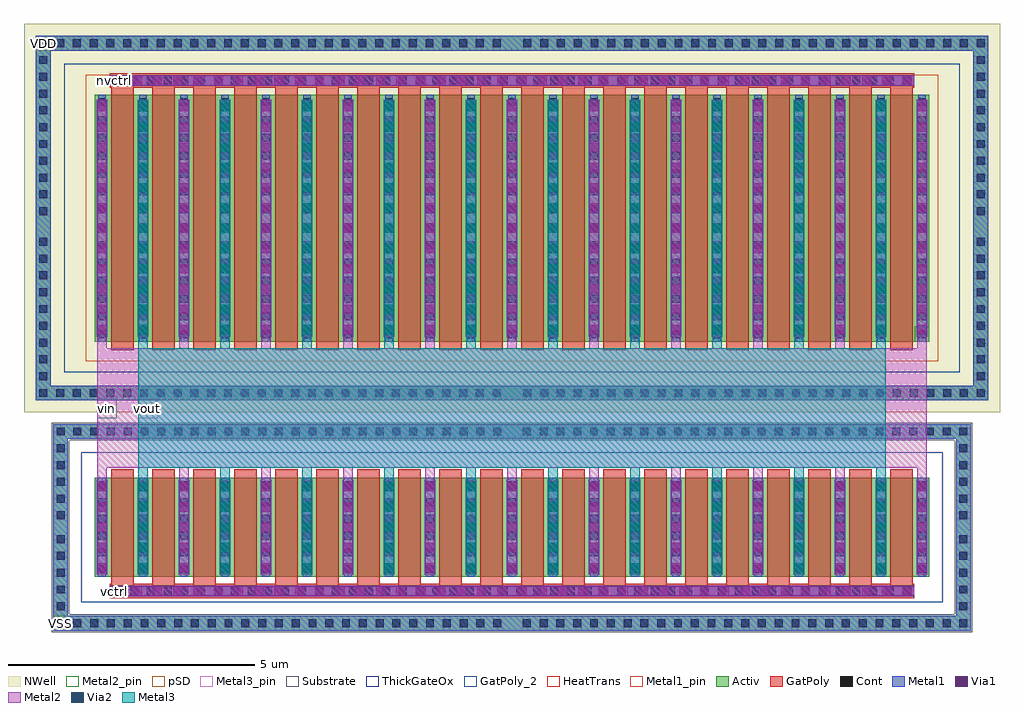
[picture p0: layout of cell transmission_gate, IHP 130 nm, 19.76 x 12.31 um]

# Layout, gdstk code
from math import pi, radians
import gdstk
lib = gdstk.Library(unit=1e-6, precision=1e-09)
def R(c, l, rs):  # rectangles x0, y0, x1, y1
    for r in rs: c.add(gdstk.rectangle(r[:2], r[2:], *l))
def A(c, l, x, y, w, h, nx, ny, dx, dy):  # array of equal rectangles
    R(c, l, [(x+i*dx, y+j*dy, x+i*dx+w, y+j*dy+h) for i in range(nx) for j in range(ny)])
def P(c, l, *ps):  # polygons
    for p in ps: c.add(gdstk.Polygon(p, *l))
Activ = (1, 0)
GatPoly = (5, 0)
GatPoly_2 = (5, 2)
Cont = (6, 0)
Metal1 = (8, 0)
Metal1_pin = (8, 2)
Metal2 = (10, 0)
Metal2_pin = (10, 2)
pSD = (14, 0)
Via1 = (19, 0)
Via2 = (29, 0)
Metal3 = (30, 0)
Metal3_pin = (30, 2)
NWell = (31, 0)
Substrate = (40, 0)
ThickGateOx = (44, 0)
HeatTrans = (51, 0)

nmoshv = lib.new_cell('nmosHV')
A(nmoshv, Activ, 0, 0, 0.3, 0.3, 21, 1, 0.83, 0)
R(nmoshv, Activ, [(-0.84,-0.79,-0.54,2.79), (17.44,-0.79,17.74,2.79), (0,0,16.9,2), (-0.84,2.79,17.74,3.09)])
P(nmoshv, Activ, [(-0.84,-1.09),(-0.84,2.79),(-0.54,2.79),(-0.54,-0.79),(17.44,-0.79),(17.44,2.79),(-0.84,2.79),(-0.84,3.09),(17.74,3.09),(17.74,-1.09)])
A(nmoshv, GatPoly, 0.34, -0.18, 0.45, 2.36, 20, 1, 0.83, 0)
R(nmoshv, GatPoly_2, [(0.34,-0.18,0.79,2.18)])
A(nmoshv, Cont, -0.77, -1.02, 0.16, 0.16, 27, 2, 0.34, 3.88)
A(nmoshv, Cont, 8.67, -1.02, 0.16, 0.16, 27, 2, 0.34, 3.88)
A(nmoshv, Cont, -0.77, -0.68, 0.16, 0.16, 1, 5, 0, 0.34)
A(nmoshv, Cont, 17.51, -0.68, 0.16, 0.16, 1, 5, 0, 0.34)
A(nmoshv, Cont, 0.07, 0.07, 0.16, 0.16, 21, 6, 0.83, 0.34)
A(nmoshv, Cont, -0.77, 1.16, 0.16, 0.16, 1, 5, 0, 0.34)
A(nmoshv, Cont, 17.51, 1.16, 0.16, 0.16, 1, 5, 0, 0.34)
A(nmoshv, Metal1, 0.07, 0, 0.16, 2, 21, 1, 0.83, 0)
R(nmoshv, Metal1, [(-0.84,-1.09,17.74,-0.79), (-0.84,-0.79,-0.54,2.79), (17.44,-0.79,17.74,2.79), (-0.84,2.79,17.74,3.09)])
R(nmoshv, Metal1_pin, [(0.07,0,0.23,2), (0.9,0,1.06,2)])
R(nmoshv, pSD, [(-0.87,-0.76,-0.51,2.76), (17.41,-0.76,17.77,2.76), (-0.87,2.76,17.77,3.12)])
P(nmoshv, pSD, [(-0.87,-1.12),(-0.87,2.76),(-0.51,2.76),(-0.51,-0.76),(17.41,-0.76),(17.41,2.76),(-0.87,2.76),(-0.87,3.12),(17.77,3.12),(17.77,-1.12)])
R(nmoshv, Substrate, [(-0.87,-0.76,-0.51,2.76), (17.41,-0.76,17.77,2.76), (-0.87,2.76,17.77,3.12)])
P(nmoshv, Substrate, [(-0.87,-1.12),(-0.87,2.76),(-0.51,2.76),(-0.51,-0.76),(17.41,-0.76),(17.41,2.76),(-0.87,2.76),(-0.87,3.12),(17.77,3.12),(17.77,-1.12)])
R(nmoshv, ThickGateOx, [(-0.27,-0.52,17.17,2.52)])
A(nmoshv, HeatTrans, 0.34, -0.18, 0.45, 2.36, 20, 1, 0.83, 0)
nmoshv.add(gdstk.Label('nmosHV', (0.565,1), layer=63, texttype=0))
nmoshv.add(gdstk.Label('sub!', (8.45,-0.94), layer=63, texttype=0))
nmoshv.add(gdstk.Label('nmosHV', (0.565,1), layer=51, texttype=0))
nmoshv.add(gdstk.Label('nmosHV', (1.395,1), layer=51, texttype=0))
nmoshv.add(gdstk.Label('nmosHV', (2.225,1), layer=51, texttype=0))
nmoshv.add(gdstk.Label('nmosHV', (3.055,1), layer=51, texttype=0))
nmoshv.add(gdstk.Label('nmosHV', (3.885,1), layer=51, texttype=0))
nmoshv.add(gdstk.Label('nmosHV', (4.715,1), layer=51, texttype=0))
nmoshv.add(gdstk.Label('nmosHV', (5.545,1), layer=51, texttype=0))
nmoshv.add(gdstk.Label('nmosHV', (6.375,1), layer=51, texttype=0))
nmoshv.add(gdstk.Label('nmosHV', (7.205,1), layer=51, texttype=0))
nmoshv.add(gdstk.Label('nmosHV', (8.035,1), layer=51, texttype=0))
nmoshv.add(gdstk.Label('nmosHV', (8.865,1), layer=51, texttype=0))
nmoshv.add(gdstk.Label('nmosHV', (9.695,1), layer=51, texttype=0))
nmoshv.add(gdstk.Label('nmosHV', (10.525,1), layer=51, texttype=0))
nmoshv.add(gdstk.Label('nmosHV', (11.355,1), layer=51, texttype=0))
nmoshv.add(gdstk.Label('nmosHV', (12.185,1), layer=51, texttype=0))
nmoshv.add(gdstk.Label('nmosHV', (13.015,1), layer=51, texttype=0))
nmoshv.add(gdstk.Label('nmosHV', (13.845,1), layer=51, texttype=0))
nmoshv.add(gdstk.Label('nmosHV', (14.675,1), layer=51, texttype=0))
nmoshv.add(gdstk.Label('nmosHV', (15.505,1), layer=51, texttype=0))
nmoshv.add(gdstk.Label('nmosHV', (16.335,1), layer=51, texttype=0))

pmoshv = lib.new_cell('pmosHV')
A(pmoshv, Activ, 0, 0, 0.3, 0.3, 21, 1, 0.83, 0)
R(pmoshv, Activ, [(-1.19,-0.89,-0.89,5.89), (17.79,-0.89,18.09,5.89), (0,0,16.9,5), (-1.19,5.89,18.09,6.19)])
P(pmoshv, Activ, [(-1.19,-1.19),(-1.19,5.89),(-0.89,5.89),(-0.89,-0.89),(17.79,-0.89),(17.79,5.89),(-1.19,5.89),(-1.19,6.19),(18.09,6.19),(18.09,-1.19)])
A(pmoshv, GatPoly, 0.34, -0.18, 0.45, 5.36, 20, 1, 0.83, 0)
R(pmoshv, GatPoly_2, [(0.34,-0.18,0.79,5.18)])
A(pmoshv, Cont, -1.12, -1.12, 0.16, 0.16, 28, 2, 0.34, 7.08)
A(pmoshv, Cont, 8.68, -1.12, 0.16, 0.16, 28, 2, 0.34, 7.08)
A(pmoshv, Cont, -1.12, -0.78, 0.16, 0.16, 1, 9, 0, 0.34)
A(pmoshv, Cont, 17.86, -0.78, 0.16, 0.16, 1, 9, 0, 0.34)
A(pmoshv, Cont, 0.07, 0.07, 0.16, 0.16, 21, 4, 0.83, 0.36)
A(pmoshv, Cont, 0.07, 1.515, 0.16, 0.16, 21, 3, 0.83, 0.36)
A(pmoshv, Cont, -1.12, 2.56, 0.16, 0.16, 1, 10, 0, 0.34)
A(pmoshv, Cont, 17.86, 2.56, 0.16, 0.16, 1, 10, 0, 0.34)
A(pmoshv, Cont, 0.07, 2.6, 0.16, 0.16, 21, 3, 0.83, 0.36)
A(pmoshv, Cont, 0.07, 3.685, 0.16, 0.16, 21, 3, 0.83, 0.36)
A(pmoshv, Cont, 0.07, 4.77, 0.16, 0.16, 21, 1, 0.83, 0)
A(pmoshv, Metal1, 0.07, 0, 0.16, 5, 21, 1, 0.83, 0)
R(pmoshv, Metal1, [(-1.19,-1.19,18.09,-0.89), (-1.19,-0.89,-0.89,5.89), (17.79,-0.89,18.09,5.89), (-1.19,5.89,18.09,6.19)])
R(pmoshv, Metal1_pin, [(0.07,0,0.23,5), (0.9,0,1.06,5)])
R(pmoshv, pSD, [(-0.18,-0.4,17.08,5.4)])
R(pmoshv, NWell, [(-1.43,-1.43,18.33,6.43), (-0.62,-0.62,17.52,5.62)])
R(pmoshv, Substrate, [(16.6,0,16.9,0.3)])
R(pmoshv, ThickGateOx, [(-0.62,-0.62,17.52,5.62)])
A(pmoshv, HeatTrans, 0.34, -0.18, 0.45, 5.36, 20, 1, 0.83, 0)
pmoshv.add(gdstk.Label('pmosHV', (0.565,2.5), layer=63, texttype=0))
pmoshv.add(gdstk.Label('well', (8.45,-1.04), layer=63, texttype=0))
pmoshv.add(gdstk.Label('pmos', (0.565,2.5), layer=51, texttype=0))
pmoshv.add(gdstk.Label('pmos', (1.395,2.5), layer=51, texttype=0))
pmoshv.add(gdstk.Label('pmos', (2.225,2.5), layer=51, texttype=0))
pmoshv.add(gdstk.Label('pmos', (3.055,2.5), layer=51, texttype=0))
pmoshv.add(gdstk.Label('pmos', (3.885,2.5), layer=51, texttype=0))
pmoshv.add(gdstk.Label('pmos', (4.715,2.5), layer=51, texttype=0))
pmoshv.add(gdstk.Label('pmos', (5.545,2.5), layer=51, texttype=0))
pmoshv.add(gdstk.Label('pmos', (6.375,2.5), layer=51, texttype=0))
pmoshv.add(gdstk.Label('pmos', (7.205,2.5), layer=51, texttype=0))
pmoshv.add(gdstk.Label('pmos', (8.035,2.5), layer=51, texttype=0))
pmoshv.add(gdstk.Label('pmos', (8.865,2.5), layer=51, texttype=0))
pmoshv.add(gdstk.Label('pmos', (9.695,2.5), layer=51, texttype=0))
pmoshv.add(gdstk.Label('pmos', (10.525,2.5), layer=51, texttype=0))
pmoshv.add(gdstk.Label('pmos', (11.355,2.5), layer=51, texttype=0))
pmoshv.add(gdstk.Label('pmos', (12.185,2.5), layer=51, texttype=0))
pmoshv.add(gdstk.Label('pmos', (13.015,2.5), layer=51, texttype=0))
pmoshv.add(gdstk.Label('pmos', (13.845,2.5), layer=51, texttype=0))
pmoshv.add(gdstk.Label('pmos', (14.675,2.5), layer=51, texttype=0))
pmoshv.add(gdstk.Label('pmos', (15.505,2.5), layer=51, texttype=0))
pmoshv.add(gdstk.Label('pmos', (16.335,2.5), layer=51, texttype=0))

via_stack_3 = lib.new_cell('via_stack$3')
R(via_stack_3, Metal1, [(-0.965,-0.105,0.965,0.105)])
R(via_stack_3, Metal2, [(-0.965,-0.1,0.965,0.1)])
A(via_stack_3, Via1, -0.915, -0.095, 0.19, 0.19, 5, 1, 0.41, 0)
A(via_stack_3, Via2, -0.915, -0.095, 0.19, 0.19, 5, 1, 0.41, 0)
R(via_stack_3, Metal3, [(-0.965,-0.1,0.965,0.1)])

via_stack_2 = lib.new_cell('via_stack$2')
R(via_stack_2, Metal1, [(-0.965,-0.105,0.965,0.105)])
R(via_stack_2, Metal2, [(-0.965,-0.1,0.965,0.1)])
A(via_stack_2, Via1, -0.915, -0.095, 0.19, 0.19, 5, 1, 0.41, 0)

via_stack_1 = lib.new_cell('via_stack$1')
R(via_stack_1, Metal1, [(-2.4,-0.105,2.4,0.105)])
R(via_stack_1, Metal2, [(-2.4,-0.1,2.4,0.1)])
A(via_stack_1, Via1, -2.35, -0.095, 0.19, 0.19, 12, 1, 0.41, 0)
A(via_stack_1, Via2, -2.35, -0.095, 0.19, 0.19, 12, 1, 0.41, 0)
R(via_stack_1, Metal3, [(-2.4,-0.1,2.4,0.1)])

via_stack = lib.new_cell('via_stack')
R(via_stack, Metal1, [(-2.4,-0.105,2.4,0.105)])
R(via_stack, Metal2, [(-2.4,-0.1,2.4,0.1)])
A(via_stack, Via1, -2.35, -0.095, 0.19, 0.19, 12, 1, 0.41, 0)

via_stack_8 = lib.new_cell('via_stack$8')
R(via_stack_8, GatPoly, [(-0.15,-8.14,0.15,8.14)])
A(via_stack_8, Cont, -0.08, -8.07, 0.16, 0.16, 1, 48, 0, 0.34)
R(via_stack_8, Metal1, [(-0.08,-8.12,0.08,8.12)])

via_stack_7 = lib.new_cell('via_stack$7')
R(via_stack_7, Metal1, [(-0.105,-8.14,0.105,8.14)])
R(via_stack_7, Metal2, [(-0.1,-8.14,0.1,8.14)])
A(via_stack_7, Via1, -0.095, -8.09, 0.19, 0.19, 1, 40, 0, 0.41)

transmission_gate = lib.new_cell('transmission_gate')
R(transmission_gate, Metal1_pin, [(0.59,0.03,0.89,0.33), (0.24,11.77,0.54,12.07)])
A(transmission_gate, Metal2, 1.48, 3.085, 0.2, 2.895, 11, 1, 1.66, 0)
R(transmission_gate, Metal2, [(1.48,3.33,18.28,5.74)])
R(transmission_gate, Metal2_pin, [(1.74,0.73,1.94,0.93), (1.48,4.33,1.88,4.73), (1.74,11.065,1.94,11.265)])
A(transmission_gate, Metal3, 2.31, 3.085, 0.2, 2.895, 10, 1, 1.66, 0)
R(transmission_gate, Metal3, [(2.31,3.33,17.45,5.74)])
R(transmission_gate, Metal3_pin, [(2.31,4.33,2.71,4.73)])
transmission_gate.add(gdstk.Reference(nmoshv, (1.43,1.12)))
transmission_gate.add(gdstk.Reference(pmoshv, (1.43,5.88)))
transmission_gate.add(gdstk.Reference(via_stack_3, (2.41,2.12), rotation=pi/2))
transmission_gate.add(gdstk.Reference(via_stack_2, (1.58,2.12), rotation=pi/2))
transmission_gate.add(gdstk.Reference(via_stack_1, (2.41,8.38), rotation=pi/2))
transmission_gate.add(gdstk.Reference(via_stack, (1.58,8.38), rotation=pi/2))
transmission_gate.add(gdstk.Reference(via_stack_3, (4.07,2.12), rotation=pi/2))
transmission_gate.add(gdstk.Reference(via_stack_3, (5.73,2.12), rotation=pi/2))
transmission_gate.add(gdstk.Reference(via_stack_3, (7.39,2.12), rotation=pi/2))
transmission_gate.add(gdstk.Reference(via_stack_3, (9.05,2.12), rotation=pi/2))
transmission_gate.add(gdstk.Reference(via_stack_3, (10.71,2.12), rotation=pi/2))
transmission_gate.add(gdstk.Reference(via_stack_3, (12.37,2.12), rotation=pi/2))
transmission_gate.add(gdstk.Reference(via_stack_3, (14.03,2.12), rotation=pi/2))
transmission_gate.add(gdstk.Reference(via_stack_3, (15.69,2.12), rotation=pi/2))
transmission_gate.add(gdstk.Reference(via_stack_3, (17.35,2.12), rotation=pi/2))
transmission_gate.add(gdstk.Reference(via_stack_8, (9.88,0.83), rotation=pi/2))
transmission_gate.add(gdstk.Reference(via_stack_2, (3.24,2.12), rotation=pi/2))
transmission_gate.add(gdstk.Reference(via_stack_2, (4.9,2.12), rotation=pi/2))
transmission_gate.add(gdstk.Reference(via_stack_2, (6.56,2.12), rotation=pi/2))
transmission_gate.add(gdstk.Reference(via_stack_2, (8.22,2.12), rotation=pi/2))
transmission_gate.add(gdstk.Reference(via_stack_2, (9.88,2.12), rotation=pi/2))
transmission_gate.add(gdstk.Reference(via_stack_2, (11.54,2.12), rotation=pi/2))
transmission_gate.add(gdstk.Reference(via_stack_2, (13.2,2.12), rotation=pi/2))
transmission_gate.add(gdstk.Reference(via_stack_2, (14.86,2.12), rotation=pi/2))
transmission_gate.add(gdstk.Reference(via_stack_2, (16.52,2.12), rotation=pi/2))
transmission_gate.add(gdstk.Reference(via_stack_2, (18.18,2.12), rotation=pi/2))
transmission_gate.add(gdstk.Reference(via_stack_7, (9.88,0.83), rotation=pi/2))
transmission_gate.add(gdstk.Reference(via_stack_8, (9.88,11.165), rotation=pi/2))
transmission_gate.add(gdstk.Reference(via_stack_7, (9.88,11.165), rotation=pi/2))
transmission_gate.add(gdstk.Reference(via_stack_1, (4.07,8.38), rotation=pi/2))
transmission_gate.add(gdstk.Reference(via_stack_1, (5.73,8.38), rotation=pi/2))
transmission_gate.add(gdstk.Reference(via_stack_1, (7.39,8.38), rotation=pi/2))
transmission_gate.add(gdstk.Reference(via_stack_1, (9.05,8.38), rotation=pi/2))
transmission_gate.add(gdstk.Reference(via_stack_1, (10.71,8.38), rotation=pi/2))
transmission_gate.add(gdstk.Reference(via_stack_1, (12.37,8.38), rotation=pi/2))
transmission_gate.add(gdstk.Reference(via_stack_1, (14.03,8.38), rotation=pi/2))
transmission_gate.add(gdstk.Reference(via_stack_1, (15.69,8.38), rotation=pi/2))
transmission_gate.add(gdstk.Reference(via_stack_1, (17.35,8.38), rotation=pi/2))
transmission_gate.add(gdstk.Reference(via_stack, (3.24,8.38), rotation=pi/2))
transmission_gate.add(gdstk.Reference(via_stack, (4.9,8.38), rotation=pi/2))
transmission_gate.add(gdstk.Reference(via_stack, (6.56,8.38), rotation=pi/2))
transmission_gate.add(gdstk.Reference(via_stack, (8.22,8.38), rotation=pi/2))
transmission_gate.add(gdstk.Reference(via_stack, (9.88,8.38), rotation=pi/2))
transmission_gate.add(gdstk.Reference(via_stack, (11.54,8.38), rotation=pi/2))
transmission_gate.add(gdstk.Reference(via_stack, (13.2,8.38), rotation=pi/2))
transmission_gate.add(gdstk.Reference(via_stack, (14.86,8.38), rotation=pi/2))
transmission_gate.add(gdstk.Reference(via_stack, (16.52,8.38), rotation=pi/2))
transmission_gate.add(gdstk.Reference(via_stack, (18.18,8.38), rotation=pi/2))
transmission_gate.add(gdstk.Label('vctrl', (1.84,0.83), layer=10, texttype=25))
transmission_gate.add(gdstk.Label('nvctrl', (1.84,11.165), layer=10, texttype=25))
transmission_gate.add(gdstk.Label('vin', (1.68,4.53), layer=10, texttype=25))
transmission_gate.add(gdstk.Label('vout', (2.51,4.53), layer=30, texttype=25))
transmission_gate.add(gdstk.Label('VDD', (0.39,11.92), layer=8, texttype=25))
transmission_gate.add(gdstk.Label('VSS', (0.74,0.18), layer=8, texttype=25))

lib.write_gds('transmission_gate.gds')
